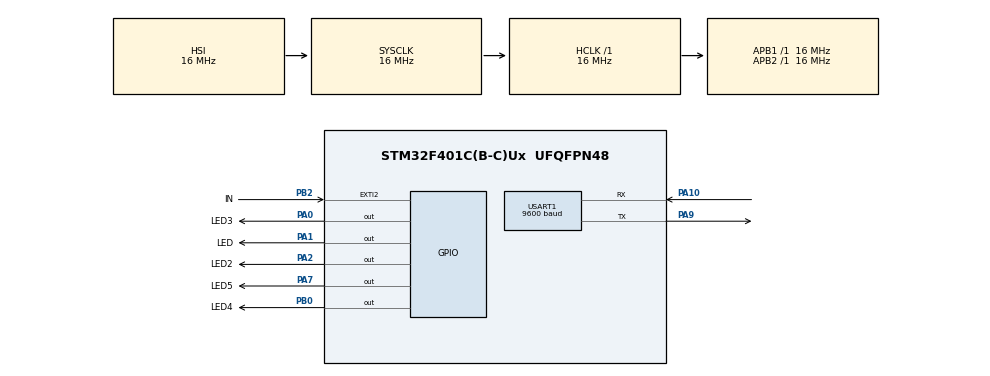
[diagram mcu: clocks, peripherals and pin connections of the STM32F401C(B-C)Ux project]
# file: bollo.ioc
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Dma.Request0=USART1_RX
Dma.USART1_RX.0.Direction=DMA_PERIPH_TO_MEMORY
Dma.USART1_RX.0.FIFOMode=DMA_FIFOMODE_DISABLE
Dma.USART1_RX.0.Instance=DMA2_Stream2
Dma.USART1_RX.0.MemDataAlignment=DMA_MDATAALIGN_BYTE
Dma.USART1_RX.0.MemInc=DMA_MINC_ENABLE
Dma.USART1_RX.0.Mode=DMA_NORMAL
Dma.USART1_RX.0.PeriphDataAlignment=DMA_PDATAALIGN_BYTE
Dma.USART1_RX.0.PeriphInc=DMA_PINC_DISABLE
Dma.USART1_RX.0.Priority=DMA_PRIORITY_LOW
Mcu.Family=STM32F4
Mcu.Name=STM32F401C(B-C)Ux
Mcu.Package=UFQFPN48
NVIC.DMA2_Stream2_IRQn=true\:0\:0\:false\:false\:true\:false\:true\:true
NVIC.EXTI2_IRQn=true\:0\:0\:false\:false\:true\:true\:true\:true
NVIC.PriorityGroup=NVIC_PRIORITYGROUP_2
NVIC.TIM1_UP_TIM10_IRQn=true\:3\:0\:true\:false\:true\:true\:true\:true
NVIC.USART1_IRQn=true\:0\:0\:false\:false\:true\:true\:true\:true
PA0-WKUP.GPIO_Label=LED3
PA0-WKUP.Signal=GPIO_Output
PA1.GPIO_Label=LED
PA1.Signal=GPIO_Output
PA10.Mode=Asynchronous
PA10.Signal=USART1_RX
PA2.GPIO_Label=LED2
PA2.Signal=GPIO_Output
PA7.GPIO_Label=LED5
PA7.Signal=GPIO_Output
PA9.Mode=Asynchronous
PA9.Signal=USART1_TX
PB0.GPIO_Label=LED4
PB0.Signal=GPIO_Output
PB2.GPIO_Label=IN
PB2.GPIO_ModeDefaultEXTI=GPIO_MODE_IT_FALLING
PB2.GPIO_PuPd=GPIO_PULLUP
PB2.Signal=GPXTI2
ProjectManager.HeapSize=0x200
ProjectManager.StackSize=0x400
ProjectManager.TargetToolchain=CMake
RCC.AHBFreq_Value=16000000
RCC.APB1Freq_Value=16000000
RCC.APB2Freq_Value=16000000
RCC.CortexFreq_Value=16000000
RCC.HSE_VALUE=25000000
RCC.HSI_VALUE=16000000
RCC.LSE_VALUE=32768
RCC.SYSCLKFreq_VALUE=16000000
RCC.VCOOutputFreq_Value=192000000
TIM1.AutoReloadPreload=TIM_AUTORELOAD_PRELOAD_ENABLE
TIM1.Period=100-1
TIM1.Prescaler=16000-1
USART1.BaudRate=9600
USART1.VirtualMode=VM_ASYNC
VP_TIM1_VS_ClockSourceINT.Mode=Internal
board=custom

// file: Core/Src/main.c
/* USER CODE BEGIN Header */
/**
  ******************************************************************************
  * @file           : main.c
  * @brief          : Main program body
  ******************************************************************************
  * @attention
  *
  * Copyright (c) 2026 STMicroelectronics.
  * All rights reserved.
  *
  * This software is licensed under terms that can be found in the LICENSE file
  * in the root directory of this software component.
  * If no LICENSE file comes with this software, it is provided AS-IS.
  *
  ******************************************************************************
  */
/* USER CODE END Header */
#include "main.h"

/* USER CODE BEGIN Includes */
#include "string.h"
#include "UARTRX.h"
#include "uart.h"
/* USER CODE END Includes */

TIM_HandleTypeDef htim1;

UART_HandleTypeDef huart1;
DMA_HandleTypeDef hdma_usart1_rx;

void SystemClock_Config(void);
static void MX_GPIO_Init(void);
static void MX_DMA_Init(void);
static void MX_TIM1_Init(void);
static void MX_USART1_UART_Init(void);

/* USER CODE BEGIN 0 */
static void procesa_rx(void)
{
  static const char comando_encender[] = "LED5=on";
  static const char comando_apagar[] = "LED5=off";

  if (UARTRX1.trama_rx == NULL)
  {
    return;
  }

  if (UARTRX1.num_datos >= sizeof(comando_encender) - 1U &&
      memcmp(UARTRX1.trama_rx, comando_encender, sizeof(comando_encender) - 1U) == 0)
  {
    HAL_GPIO_WritePin(LED5_GPIO_Port, LED5_Pin, GPIO_PIN_SET);
  }
  else if (UARTRX1.num_datos >= sizeof(comando_apagar) - 1U &&
           memcmp(UARTRX1.trama_rx, comando_apagar, sizeof(comando_apagar) - 1U) == 0)
  {
    HAL_GPIO_WritePin(LED5_GPIO_Port, LED5_Pin, GPIO_PIN_RESET);
  }
}
/* USER CODE END 0 */

int main(void)
{

  /* MCU Configuration--------------------------------------------------------*/

  /* Reset of all peripherals, Initializes the Flash interface and the Systick. */
  HAL_Init();

  /* Configure the system clock */
  SystemClock_Config();

  /* Initialize all configured peripherals */
  MX_GPIO_Init();
  MX_DMA_Init();
  MX_TIM1_Init();
  MX_USART1_UART_Init();
  /* USER CODE BEGIN 2 */
  HAL_TIM_Base_Start_IT(&htim1);
  uartRX_it_idle_dma_init( &UARTRX1);

  /* USER CODE END 2 */

  /* Infinite loop */
  /* USER CODE BEGIN WHILE */
  while (1)
  {
    HAL_GPIO_TogglePin(LED_GPIO_Port, LED_Pin);
    HAL_Delay(200);
    if (UARTRX1.flag_rx == 1)
    {
      procesa_rx();
      uartx_write_buffer(&huart1, UARTRX1.trama_rx, UARTRX1.num_datos);
      uartRX_DMA_Re_init(&UARTRX1);
    }
    /* USER CODE END WHILE */

  }
}

void SystemClock_Config(void)
{
  RCC_OscInitTypeDef RCC_OscInitStruct = {0};
  RCC_ClkInitTypeDef RCC_ClkInitStruct = {0};

  /** Configure the main internal regulator output voltage
  */
  __HAL_RCC_PWR_CLK_ENABLE();
  __HAL_PWR_VOLTAGESCALING_CONFIG(PWR_REGULATOR_VOLTAGE_SCALE2);

  /** Initializes the RCC Oscillators according to the specified parameters
  * in the RCC_OscInitTypeDef structure.
  */
  RCC_OscInitStruct.OscillatorType = RCC_OSCILLATORTYPE_HSI;
  RCC_OscInitStruct.HSIState = RCC_HSI_ON;
  RCC_OscInitStruct.HSICalibrationValue = RCC_HSICALIBRATION_DEFAULT;
  RCC_OscInitStruct.PLL.PLLState = RCC_PLL_NONE;
  if (HAL_RCC_OscConfig(&RCC_OscInitStruct) != HAL_OK)
  {
    Error_Handler();
  }

  /** Initializes the CPU, AHB and APB buses clocks
  */
  RCC_ClkInitStruct.ClockType = RCC_CLOCKTYPE_HCLK|RCC_CLOCKTYPE_SYSCLK
                              |RCC_CLOCKTYPE_PCLK1|RCC_CLOCKTYPE_PCLK2;
  RCC_ClkInitStruct.SYSCLKSource = RCC_SYSCLKSOURCE_HSI;
  RCC_ClkInitStruct.AHBCLKDivider = RCC_SYSCLK_DIV1;
  RCC_ClkInitStruct.APB1CLKDivider = RCC_HCLK_DIV1;
  RCC_ClkInitStruct.APB2CLKDivider = RCC_HCLK_DIV1;

  if (HAL_RCC_ClockConfig(&RCC_ClkInitStruct, FLASH_LATENCY_0) != HAL_OK)
  {
    Error_Handler();
  }
}

static void MX_TIM1_Init(void)
{

  TIM_ClockConfigTypeDef sClockSourceConfig = {0};
  TIM_MasterConfigTypeDef sMasterConfig = {0};

  htim1.Instance = TIM1;
  htim1.Init.Prescaler = 16000-1;
  htim1.Init.CounterMode = TIM_COUNTERMODE_UP;
  htim1.Init.Period = 100-1;
  htim1.Init.ClockDivision = TIM_CLOCKDIVISION_DIV1;
  htim1.Init.RepetitionCounter = 0;
  htim1.Init.AutoReloadPreload = TIM_AUTORELOAD_PRELOAD_ENABLE;
  if (HAL_TIM_Base_Init(&htim1) != HAL_OK)
  {
    Error_Handler();
  }
  sClockSourceConfig.ClockSource = TIM_CLOCKSOURCE_INTERNAL;
  if (HAL_TIM_ConfigClockSource(&htim1, &sClockSourceConfig) != HAL_OK)
  {
    Error_Handler();
  }
  sMasterConfig.MasterOutputTrigger = TIM_TRGO_RESET;
  sMasterConfig.MasterSlaveMode = TIM_MASTERSLAVEMODE_DISABLE;
  if (HAL_TIMEx_MasterConfigSynchronization(&htim1, &sMasterConfig) != HAL_OK)
  {
    Error_Handler();
  }

}

static void MX_USART1_UART_Init(void)
{

  huart1.Instance = USART1;
  huart1.Init.BaudRate = 9600;
  huart1.Init.WordLength = UART_WORDLENGTH_8B;
  huart1.Init.StopBits = UART_STOPBITS_1;
  huart1.Init.Parity = UART_PARITY_NONE;
  huart1.Init.Mode = UART_MODE_TX_RX;
  huart1.Init.HwFlowCtl = UART_HWCONTROL_NONE;
  huart1.Init.OverSampling = UART_OVERSAMPLING_16;
  if (HAL_UART_Init(&huart1) != HAL_OK)
  {
    Error_Handler();
  }

}

static void MX_DMA_Init(void)
{

  /* DMA controller clock enable */
  __HAL_RCC_DMA2_CLK_ENABLE();

  /* DMA interrupt init */
  /* DMA2_Stream2_IRQn interrupt configuration */
  HAL_NVIC_SetPriority(DMA2_Stream2_IRQn, 0, 0);
  HAL_NVIC_EnableIRQ(DMA2_Stream2_IRQn);

}

static void MX_GPIO_Init(void)
{
  GPIO_InitTypeDef GPIO_InitStruct = {0};

  /* GPIO Ports Clock Enable */
  __HAL_RCC_GPIOA_CLK_ENABLE();
  __HAL_RCC_GPIOB_CLK_ENABLE();

  /*Configure GPIO pin Output Level */
  HAL_GPIO_WritePin(GPIOA, LED3_Pin|LED_Pin|LED2_Pin|LED5_Pin, GPIO_PIN_RESET);

  /*Configure GPIO pin Output Level */
  HAL_GPIO_WritePin(LED4_GPIO_Port, LED4_Pin, GPIO_PIN_RESET);

  /*Configure GPIO pins : LED3_Pin LED_Pin LED2_Pin LED5_Pin */
  GPIO_InitStruct.Pin = LED3_Pin|LED_Pin|LED2_Pin|LED5_Pin;
  GPIO_InitStruct.Mode = GPIO_MODE_OUTPUT_PP;
  GPIO_InitStruct.Pull = GPIO_NOPULL;
  GPIO_InitStruct.Speed = GPIO_SPEED_FREQ_LOW;
  HAL_GPIO_Init(GPIOA, &GPIO_InitStruct);

  /*Configure GPIO pin : LED4_Pin */
  GPIO_InitStruct.Pin = LED4_Pin;
  GPIO_InitStruct.Mode = GPIO_MODE_OUTPUT_PP;
  GPIO_InitStruct.Pull = GPIO_NOPULL;
  GPIO_InitStruct.Speed = GPIO_SPEED_FREQ_LOW;
  HAL_GPIO_Init(LED4_GPIO_Port, &GPIO_InitStruct);

  /*Configure GPIO pin : IN_Pin */
  GPIO_InitStruct.Pin = IN_Pin;
  GPIO_InitStruct.Mode = GPIO_MODE_IT_FALLING;
  GPIO_InitStruct.Pull = GPIO_PULLUP;
  HAL_GPIO_Init(IN_GPIO_Port, &GPIO_InitStruct);

  /* EXTI interrupt init*/
  HAL_NVIC_SetPriority(EXTI2_IRQn, 0, 0);
  HAL_NVIC_EnableIRQ(EXTI2_IRQn);

}

void Error_Handler(void)
{
  __disable_irq();
  while (1)
  {
  }
}
